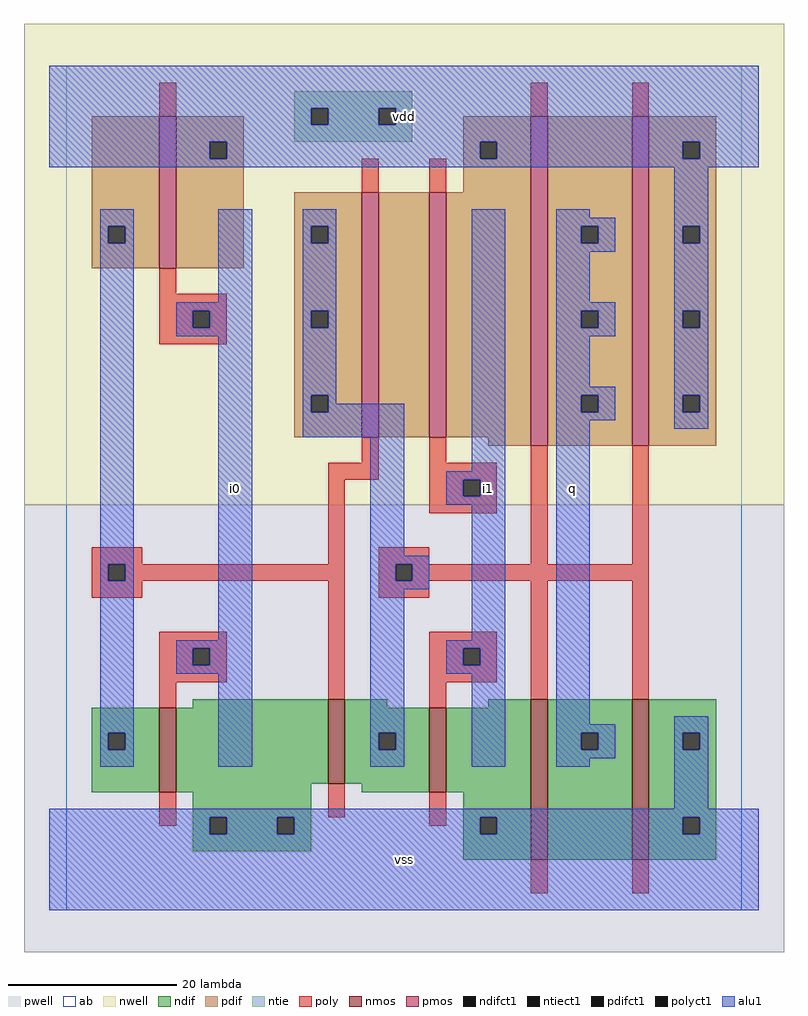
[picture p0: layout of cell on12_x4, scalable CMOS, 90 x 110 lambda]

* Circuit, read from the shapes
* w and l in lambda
.subckt on12_x4 i0 i1 q vdd vss
M1 vss i0 n1 VSUBS nfet w=10 l=2
M2 n2 n1 vss VSUBS nfet w=10 l=2
M3 vss i1 n2 VSUBS nfet w=10 l=2
M4 q n2 vss VSUBS nfet w=19 l=2 m=2
M5 vdd i0 n1 vdd pfet w=18 l=2
M6 n3 n1 n2 vdd pfet w=29 l=2
M7 vdd i1 n3 vdd pfet w=29 l=2
M8 q n2 vdd vdd pfet w=39 l=2 m=2
.ends

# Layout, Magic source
magic
tech scmos
<< ab >>
rect 0 0 80 100
<< nwell >>
rect -5 48 85 105
<< pwell >>
rect -5 -5 85 48
<< poly >>
rect 11 94 13 98
rect 55 94 57 98
rect 67 94 69 98
rect 35 85 37 89
rect 43 85 45 89
rect 11 73 13 76
rect 11 71 19 73
rect 11 69 15 71
rect 17 69 19 71
rect 11 67 19 69
rect 35 53 37 56
rect 31 51 37 53
rect 43 53 45 56
rect 43 51 51 53
rect 3 41 9 43
rect 31 41 33 51
rect 43 49 47 51
rect 49 49 51 51
rect 43 47 51 49
rect 3 39 5 41
rect 7 39 33 41
rect 3 37 9 39
rect 11 31 19 33
rect 11 29 15 31
rect 17 29 19 31
rect 11 27 19 29
rect 11 24 13 27
rect 31 25 33 39
rect 37 41 43 43
rect 55 41 57 55
rect 67 41 69 55
rect 37 39 39 41
rect 41 39 69 41
rect 37 37 43 39
rect 43 31 51 33
rect 43 29 47 31
rect 49 29 51 31
rect 43 27 51 29
rect 43 24 45 27
rect 55 25 57 39
rect 67 25 69 39
rect 11 10 13 14
rect 31 11 33 15
rect 43 10 45 14
rect 55 2 57 6
rect 67 2 69 6
<< ndif >>
rect 15 24 31 25
rect 3 21 11 24
rect 3 19 5 21
rect 7 19 11 21
rect 3 14 11 19
rect 13 15 31 24
rect 33 24 38 25
rect 50 24 55 25
rect 33 21 43 24
rect 33 19 37 21
rect 39 19 43 21
rect 33 15 43 19
rect 13 14 29 15
rect 15 11 29 14
rect 35 14 43 15
rect 45 14 55 24
rect 15 9 17 11
rect 19 9 25 11
rect 27 9 29 11
rect 47 11 55 14
rect 15 7 29 9
rect 47 9 49 11
rect 51 9 55 11
rect 47 6 55 9
rect 57 21 67 25
rect 57 19 61 21
rect 63 19 67 21
rect 57 6 67 19
rect 69 21 77 25
rect 69 19 73 21
rect 75 19 77 21
rect 69 11 77 19
rect 69 9 73 11
rect 75 9 77 11
rect 69 6 77 9
<< pdif >>
rect 3 81 11 94
rect 3 79 5 81
rect 7 79 11 81
rect 3 76 11 79
rect 13 91 21 94
rect 47 91 55 94
rect 13 89 17 91
rect 19 89 21 91
rect 47 89 49 91
rect 51 89 55 91
rect 13 76 21 89
rect 47 85 55 89
rect 27 81 35 85
rect 27 79 29 81
rect 31 79 35 81
rect 27 71 35 79
rect 27 69 29 71
rect 31 69 35 71
rect 27 61 35 69
rect 27 59 29 61
rect 31 59 35 61
rect 27 56 35 59
rect 37 56 43 85
rect 45 56 55 85
rect 50 55 55 56
rect 57 81 67 94
rect 57 79 61 81
rect 63 79 67 81
rect 57 71 67 79
rect 57 69 61 71
rect 63 69 67 71
rect 57 61 67 69
rect 57 59 61 61
rect 63 59 67 61
rect 57 55 67 59
rect 69 91 77 94
rect 69 89 73 91
rect 75 89 77 91
rect 69 81 77 89
rect 69 79 73 81
rect 75 79 77 81
rect 69 71 77 79
rect 69 69 73 71
rect 75 69 77 71
rect 69 61 77 69
rect 69 59 73 61
rect 75 59 77 61
rect 69 55 77 59
<< alu1 >>
rect -2 95 82 100
rect -2 93 29 95
rect 31 93 37 95
rect 39 93 82 95
rect -2 91 82 93
rect -2 89 17 91
rect 19 89 49 91
rect 51 89 73 91
rect 75 89 82 91
rect -2 88 82 89
rect 4 81 8 83
rect 4 79 5 81
rect 7 79 8 81
rect 4 41 8 79
rect 18 72 22 83
rect 13 71 22 72
rect 13 69 15 71
rect 17 69 22 71
rect 13 68 22 69
rect 4 39 5 41
rect 7 39 8 41
rect 4 21 8 39
rect 18 32 22 68
rect 28 81 32 83
rect 28 79 29 81
rect 31 79 32 81
rect 28 71 32 79
rect 28 69 29 71
rect 31 69 32 71
rect 28 61 32 69
rect 28 59 29 61
rect 31 60 32 61
rect 31 59 40 60
rect 28 56 40 59
rect 13 31 22 32
rect 13 29 15 31
rect 17 29 22 31
rect 13 28 22 29
rect 4 19 5 21
rect 7 19 8 21
rect 4 17 8 19
rect 18 17 22 28
rect 36 42 40 56
rect 48 52 52 83
rect 45 51 52 52
rect 45 49 47 51
rect 49 49 52 51
rect 45 48 52 49
rect 36 41 43 42
rect 36 39 39 41
rect 41 39 43 41
rect 36 38 43 39
rect 36 21 40 38
rect 48 32 52 48
rect 45 31 52 32
rect 45 29 47 31
rect 49 29 52 31
rect 45 28 52 29
rect 36 19 37 21
rect 39 19 40 21
rect 36 17 40 19
rect 48 17 52 28
rect 58 82 62 83
rect 58 81 65 82
rect 58 79 61 81
rect 63 79 65 81
rect 58 78 65 79
rect 72 81 76 88
rect 72 79 73 81
rect 75 79 76 81
rect 58 72 62 78
rect 58 71 65 72
rect 58 69 61 71
rect 63 69 65 71
rect 58 68 65 69
rect 72 71 76 79
rect 72 69 73 71
rect 75 69 76 71
rect 58 62 62 68
rect 58 61 65 62
rect 58 59 61 61
rect 63 59 65 61
rect 58 58 65 59
rect 72 61 76 69
rect 72 59 73 61
rect 75 59 76 61
rect 58 22 62 58
rect 72 57 76 59
rect 58 21 65 22
rect 58 19 61 21
rect 63 19 65 21
rect 58 18 65 19
rect 72 21 76 23
rect 72 19 73 21
rect 75 19 76 21
rect 58 17 62 18
rect 72 12 76 19
rect -2 11 82 12
rect -2 9 17 11
rect 19 9 25 11
rect 27 9 49 11
rect 51 9 73 11
rect 75 9 82 11
rect -2 0 82 9
<< ntie >>
rect 27 95 41 97
rect 27 93 29 95
rect 31 93 37 95
rect 39 93 41 95
rect 27 91 41 93
<< nmos >>
rect 11 14 13 24
rect 31 15 33 25
rect 43 14 45 24
rect 55 6 57 25
rect 67 6 69 25
<< pmos >>
rect 11 76 13 94
rect 35 56 37 85
rect 43 56 45 85
rect 55 55 57 94
rect 67 55 69 94
<< polyct1 >>
rect 15 69 17 71
rect 47 49 49 51
rect 5 39 7 41
rect 15 29 17 31
rect 39 39 41 41
rect 47 29 49 31
<< ndifct1 >>
rect 5 19 7 21
rect 37 19 39 21
rect 17 9 19 11
rect 25 9 27 11
rect 49 9 51 11
rect 61 19 63 21
rect 73 19 75 21
rect 73 9 75 11
<< ntiect1 >>
rect 29 93 31 95
rect 37 93 39 95
<< pdifct1 >>
rect 5 79 7 81
rect 17 89 19 91
rect 49 89 51 91
rect 29 79 31 81
rect 29 69 31 71
rect 29 59 31 61
rect 61 79 63 81
rect 61 69 63 71
rect 61 59 63 61
rect 73 89 75 91
rect 73 79 75 81
rect 73 69 75 71
rect 73 59 75 61
<< labels >>
rlabel alu1 20 50 20 50 6 i0
rlabel alu1 40 6 40 6 6 vss
rlabel alu1 50 50 50 50 6 i1
rlabel alu1 40 94 40 94 6 vdd
rlabel alu1 60 50 60 50 6 q
<< end >>
